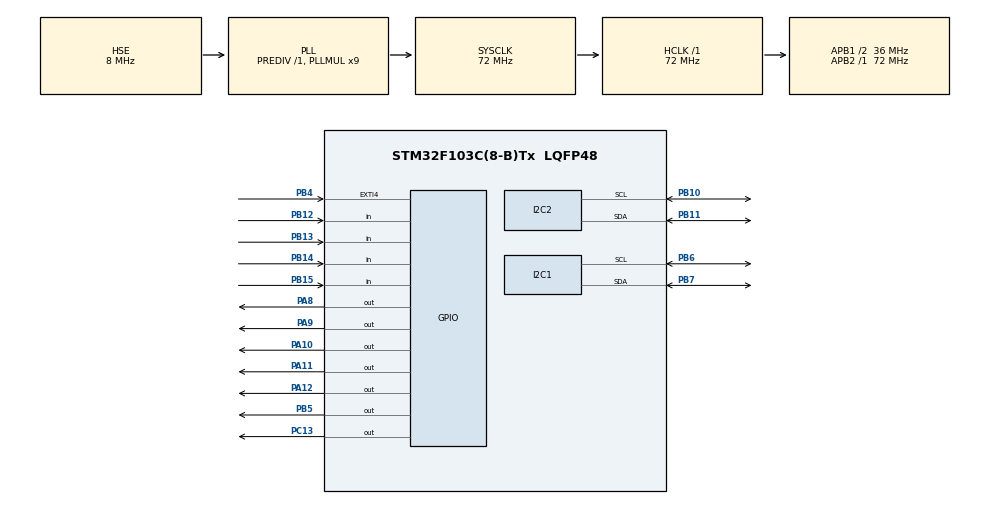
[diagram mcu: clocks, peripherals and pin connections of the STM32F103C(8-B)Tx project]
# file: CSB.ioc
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Mcu.Family=STM32F1
Mcu.Name=STM32F103C(8-B)Tx
Mcu.Package=LQFP48
NVIC.EXTI4_IRQn=true\:0\:0\:false\:false\:true\:true\:true
NVIC.PriorityGroup=NVIC_PRIORITYGROUP_4
NVIC.TIM1_UP_IRQn=true\:0\:0\:false\:false\:true\:true\:true
NVIC.TIM2_IRQn=true\:0\:0\:false\:false\:true\:true\:true
PA10.Signal=GPIO_Output
PA11.Signal=GPIO_Output
PA12.Signal=GPIO_Output
PA13.Mode=Serial_Wire
PA13.Signal=SYS_JTMS-SWDIO
PA14.Mode=Serial_Wire
PA14.Signal=SYS_JTCK-SWCLK
PA8.GPIO_PuPd=GPIO_PULLUP
PA8.PinState=GPIO_PIN_SET
PA8.Signal=GPIO_Output
PA9.GPIO_PuPd=GPIO_PULLDOWN
PA9.PinState=GPIO_PIN_RESET
PA9.Signal=GPIO_Output
PB10.Mode=I2C
PB10.Signal=I2C2_SCL
PB11.Mode=I2C
PB11.Signal=I2C2_SDA
PB12.GPIO_PuPd=GPIO_PULLUP
PB12.Signal=GPIO_Input
PB13.GPIO_PuPd=GPIO_PULLUP
PB13.Signal=GPIO_Input
PB14.GPIO_PuPd=GPIO_PULLUP
PB14.Signal=GPIO_Input
PB15.GPIO_PuPd=GPIO_PULLUP
PB15.Signal=GPIO_Input
PB4.GPIO_ModeDefaultEXTI=GPIO_MODE_IT_RISING_FALLING
PB4.GPIO_PuPd=GPIO_PULLDOWN
PB4.Signal=GPXTI4
PB5.Signal=GPIO_Output
PB6.Mode=I2C
PB6.Signal=I2C1_SCL
PB7.Mode=I2C
PB7.Signal=I2C1_SDA
PC13-TAMPER-RTC.Signal=GPIO_Output
PC14-OSC32_IN.Mode=LSE-External-Oscillator
PC14-OSC32_IN.Signal=RCC_OSC32_IN
PC15-OSC32_OUT.Mode=LSE-External-Oscillator
PC15-OSC32_OUT.Signal=RCC_OSC32_OUT
PD0-OSC_IN.Mode=HSE-External-Oscillator
PD0-OSC_IN.Signal=RCC_OSC_IN
PD1-OSC_OUT.Mode=HSE-External-Oscillator
PD1-OSC_OUT.Signal=RCC_OSC_OUT
ProjectManager.HeapSize=0x200
ProjectManager.StackSize=0x400
ProjectManager.TargetToolchain=MDK-ARM V5.27
RCC.AHBFreq_Value=72000000
RCC.APB1CLKDivider=RCC_HCLK_DIV2
RCC.APB1Freq_Value=36000000
RCC.APB1TimFreq_Value=72000000
RCC.APB2Freq_Value=72000000
RCC.APB2TimFreq_Value=72000000
RCC.HCLKFreq_Value=72000000
RCC.PLLMUL=RCC_PLL_MUL9
RCC.PLLSourceVirtual=RCC_PLLSOURCE_HSE
RCC.SYSCLKFreq_VALUE=72000000
RCC.SYSCLKSource=RCC_SYSCLKSOURCE_PLLCLK
RCC.USBFreq_Value=72000000
TIM1.AutoReloadPreload=TIM_AUTORELOAD_PRELOAD_ENABLE
TIM1.Period=10000
TIM1.Prescaler=7200-1
TIM2.AutoReloadPreload=TIM_AUTORELOAD_PRELOAD_ENABLE
TIM2.Period=200
TIM2.Prescaler=7200-1
VP_TIM1_VS_ClockSourceINT.Mode=Internal
VP_TIM2_VS_ClockSourceINT.Mode=Internal
board=custom

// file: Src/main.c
/* USER CODE BEGIN Header */
/**
  ******************************************************************************
  * @file           : main.c
  * @brief          : Main program body
  ******************************************************************************
  * @attention
  *
  * <h2><center>&copy; Copyright (c) 2024 STMicroelectronics.
  * All rights reserved.</center></h2>
  *
  * This software component is licensed by ST under BSD 3-Clause license,
  * the "License"; You may not use this file except in compliance with the
  * License. You may obtain a copy of the License at:
  *                        opensource.org/licenses/BSD-3-Clause
  *
  ******************************************************************************
  */
/* USER CODE END Header */
#include "main.h"
#include "i2c.h"
#include "tim.h"
#include "gpio.h"

/* USER CODE BEGIN Includes */
#include "bsp_oled.h"
#include "ds1302.h"
#include "at24c02.h"
#include "bsp_led_bee.h"
#include "stdio.h"
#include "stdlib.h"
/* USER CODE END Includes */

/* USER CODE BEGIN PTD */
extern I2C_HandleTypeDef hi2c2;
uint8_t last_alarm_time[8];
char date[20];
char time[20];
double flow_speed = 0;
double flow=0;
double flow_limit=40;
int key1=0;
int key2=0;
int key3=0;
int key4=0;
char home=1;
char csb=0;
float distance;
char tmp[50];
unsigned char a=0;
/* USER CODE END PTD */

void SystemClock_Config(void);

int main(void)
{

  /* MCU Configuration--------------------------------------------------------*/

  /* Reset of all peripherals, Initializes the Flash interface and the Systick. */
  HAL_Init();

  /* Configure the system clock */
  SystemClock_Config();

  /* Initialize all configured peripherals */
  MX_GPIO_Init();
  MX_I2C1_Init();
  MX_I2C2_Init();
  MX_TIM1_Init();
  MX_TIM2_Init();
  /* USER CODE BEGIN 2 */
	HAL_TIM_Base_Start_IT(&htim1);
	HAL_TIM_Base_Start_IT(&htim2);
	AT24_Init(hi2c2);
	ds1302_init(0);
	flow_speed = 3.5;
	IIC_GPIO_Config();
	OLED_Init();
	OLED_Clear();

	OLED_ShowCHinese(0,0,0);
	OLED_ShowCHinese(16,0,1);
	OLED_ShowChar(32,0,':', 16);
	memset(tmp, 0, sizeof(tmp));
	sprintf(tmp, "%.3fm/s", flow_speed);
	OLED_ShowString(48, 0, tmp, 16);

	OLED_ShowCHinese(0,2,0);
	OLED_ShowCHinese(16,2,2);
	OLED_ShowChar(32,2,':', 16);
	memset(tmp, 0, sizeof(tmp));
	sprintf(tmp, "%.3fm^3", flow);
	OLED_ShowString(48, 2, tmp, 16);

	OLED_ShowCHinese(0,4,3);
	OLED_ShowCHinese(16,4,4);
	OLED_ShowChar(32,4,':', 16);
	memset(tmp, 0, sizeof(tmp));
	sprintf(tmp, "%.0fm^3", flow_limit);
	OLED_ShowString(48, 4, tmp, 16);

	OLED_ShowCHinese(0,6,5);
	OLED_ShowCHinese(16,6,6);
	OLED_ShowChar(32,6,':', 16);
	ds1302_read();
	OLED_ShowString(48, 6, date, 8);
	OLED_ShowString(56, 7, time, 8);
  /* USER CODE END 2 */

  /* Infinite loop */
  while (1)
  {

    /* USER CODE BEGIN 3 */
		//getDistance();
		flow_speed = distance;
		//
		if(flow >= flow_limit)
		{
			LED_ON();
			Buzzer_ON();
			alarm_time_recording();
		}
		else
		{
			LED_OFF();
			Buzzer_OFF();
		}

		if(key1){
			OLED_Clear();
			home++;
				if(home ==4)home=1;
			key1=0;
			key2=0;
			key3=0;
			key4=0;
		}
		if(home == 1)
		{
			OLED_ShowCHinese(0,0,0);
			OLED_ShowCHinese(16,0,1);
			OLED_ShowChar(32,0,':', 16);
			memset(tmp, 0, sizeof(tmp));
			sprintf(tmp, "%06.3fm/s", flow_speed);
			OLED_ShowString(48, 0, tmp, 16);

			OLED_ShowCHinese(0,2,0);
			OLED_ShowCHinese(16,2,2);
			OLED_ShowChar(32,2,':', 16);
			memset(tmp, 0, sizeof(tmp));
			sprintf(tmp, "%.3fm^3", flow);
			OLED_ShowString(48, 2, tmp, 16);

			OLED_ShowCHinese(0,4,3);
			OLED_ShowCHinese(16,4,4);
			OLED_ShowChar(32,4,':', 16);
			memset(tmp, 0, sizeof(tmp));
			sprintf(tmp, "%.0fm^3", flow_limit);
			OLED_ShowString(48, 4, tmp, 16);

			OLED_ShowCHinese(0,6,5);
			OLED_ShowCHinese(16,6,6);
			OLED_ShowChar(32,6,':', 16);
			ds1302_read();
			OLED_ShowString(48, 6, date, 8);
			OLED_ShowString(56, 7, time, 8);
			if(key4 && home == 1){
				key4=0;
				flow=0;
		}
		}
		else if(home == 2)
		{
			OLED_ShowCHinese(0,0,3);
			OLED_ShowCHinese(16,0,4);
			OLED_ShowCHinese(32,0,7);
			OLED_ShowCHinese(48,0,8);
			OLED_ShowCHinese(0,2,3);
			OLED_ShowCHinese(16,2,4);
			OLED_ShowChar(32,2,':', 16);
			memset(tmp, 0, sizeof(tmp));
			sprintf(tmp, "%.0fm^3", flow_limit);
			OLED_ShowString(48, 2, tmp, 16);
			OLED_ShowString(0,4,"KEY1", 16);
			OLED_ShowCHinese(32,4,9);
			OLED_ShowCHinese(45,4,10);
			OLED_ShowString(0,6,"KEY2++ KEY3--", 16);

			if(key2 && flow_limit<=999){
				flow_limit++;
				key2 = 0;
			}
			else if(key3 && flow_limit>=5)
			{
				flow_limit--;
				key3=0;
			}
		}
		else if(home == 3)
		{
			display_last_alrm();
		}
  }
  /* USER CODE END 3 */
}

void SystemClock_Config(void)
{
  RCC_OscInitTypeDef RCC_OscInitStruct = {0};
  RCC_ClkInitTypeDef RCC_ClkInitStruct = {0};

  /** Initializes the RCC Oscillators according to the specified parameters
  * in the RCC_OscInitTypeDef structure.
  */
  RCC_OscInitStruct.OscillatorType = RCC_OSCILLATORTYPE_HSE;
  RCC_OscInitStruct.HSEState = RCC_HSE_ON;
  RCC_OscInitStruct.HSEPredivValue = RCC_HSE_PREDIV_DIV1;
  RCC_OscInitStruct.HSIState = RCC_HSI_ON;
  RCC_OscInitStruct.PLL.PLLState = RCC_PLL_ON;
  RCC_OscInitStruct.PLL.PLLSource = RCC_PLLSOURCE_HSE;
  RCC_OscInitStruct.PLL.PLLMUL = RCC_PLL_MUL9;
  if (HAL_RCC_OscConfig(&RCC_OscInitStruct) != HAL_OK)
  {
    Error_Handler();
  }
  /** Initializes the CPU, AHB and APB buses clocks
  */
  RCC_ClkInitStruct.ClockType = RCC_CLOCKTYPE_HCLK|RCC_CLOCKTYPE_SYSCLK
                              |RCC_CLOCKTYPE_PCLK1|RCC_CLOCKTYPE_PCLK2;
  RCC_ClkInitStruct.SYSCLKSource = RCC_SYSCLKSOURCE_PLLCLK;
  RCC_ClkInitStruct.AHBCLKDivider = RCC_SYSCLK_DIV1;
  RCC_ClkInitStruct.APB1CLKDivider = RCC_HCLK_DIV2;
  RCC_ClkInitStruct.APB2CLKDivider = RCC_HCLK_DIV1;

  if (HAL_RCC_ClockConfig(&RCC_ClkInitStruct, FLASH_LATENCY_2) != HAL_OK)
  {
    Error_Handler();
  }
}

void Error_Handler(void)
{
  __disable_irq();
  while (1)
  {
  }
}

/************************ (C) COPYRIGHT STMicroelectronics *****END OF FILE****/
